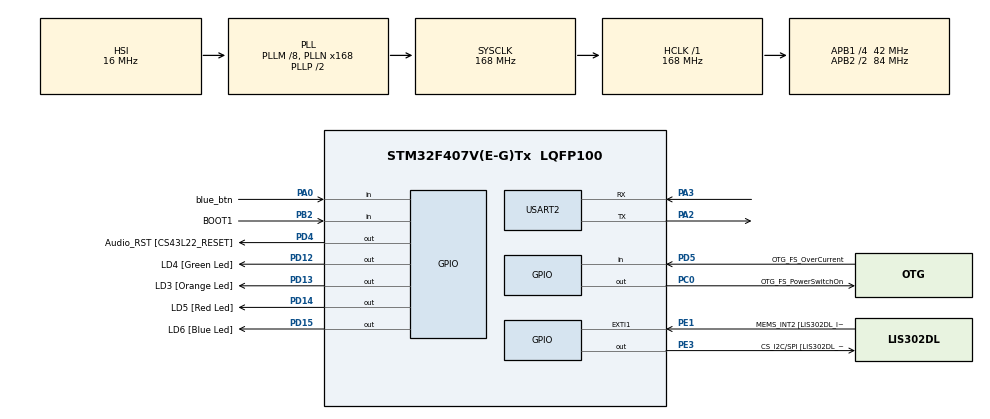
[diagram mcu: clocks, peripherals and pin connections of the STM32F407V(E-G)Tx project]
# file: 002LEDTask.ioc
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Mcu.Family=STM32F4
Mcu.Name=STM32F407V(E-G)Tx
Mcu.Package=LQFP100
NVIC.PriorityGroup=NVIC_PRIORITYGROUP_4
NVIC.TIM6_DAC_IRQn=true\:15\:0\:false\:false\:true\:false\:true
NVIC.TimeBase=TIM6_DAC_IRQn
NVIC.TimeBaseIP=TIM6
NVIC.USART2_IRQn=true\:0\:0\:false\:false\:true\:true\:true
PA0-WKUP.GPIO_Label=blue_btn
PA0-WKUP.Signal=GPIO_Input
PA10.GPIO_Label=OTG_FS_ID
PA10.GPIO_Mode=GPIO_MODE_AF_PP
PA10.GPIO_PuPd=GPIO_NOPULL
PA10.GPIO_Speed=GPIO_SPEED_FREQ_LOW
PA10.Signal=USB_OTG_FS_ID
PA11.GPIO_Label=OTG_FS_DM
PA11.GPIO_Mode=GPIO_MODE_AF_PP
PA11.GPIO_PuPd=GPIO_NOPULL
PA11.GPIO_Speed=GPIO_SPEED_FREQ_LOW
PA11.Signal=USB_OTG_FS_DM
PA12.GPIO_Label=OTG_FS_DP
PA12.GPIO_Mode=GPIO_MODE_AF_PP
PA12.GPIO_PuPd=GPIO_NOPULL
PA12.GPIO_Speed=GPIO_SPEED_FREQ_LOW
PA12.Signal=USB_OTG_FS_DP
PA13.GPIO_Label=SWDIO
PA13.Mode=Trace_Asynchronous_SW
PA13.Signal=SYS_JTMS-SWDIO
PA14.GPIO_Label=SWCLK
PA14.Mode=Trace_Asynchronous_SW
PA14.Signal=SYS_JTCK-SWCLK
PA2.Mode=Asynchronous
PA2.Signal=USART2_TX
PA3.Mode=Asynchronous
PA3.Signal=USART2_RX
PA4.GPIO_Label=I2S3_WS [CS43L22_LRCK]
PA4.GPIO_Mode=GPIO_MODE_AF_PP
PA4.GPIO_PuPd=GPIO_NOPULL
PA4.GPIO_Speed=GPIO_SPEED_FREQ_LOW
PA4.Signal=I2S3_WS
PA5.GPIO_Label=SPI1_SCK [LIS302DL_SCL/SPC]
PA5.GPIO_Mode=GPIO_MODE_AF_PP
PA5.GPIO_PuPd=GPIO_NOPULL
PA5.GPIO_Speed=GPIO_SPEED_FREQ_LOW
PA5.Signal=SPI1_SCK
PA6.GPIO_Label=SPI1_MISO [LIS302DL_SDO]
PA6.GPIO_Mode=GPIO_MODE_AF_PP
PA6.GPIO_PuPd=GPIO_NOPULL
PA6.GPIO_Speed=GPIO_SPEED_FREQ_LOW
PA6.Signal=SPI1_MISO
PA7.GPIO_Label=SPI1_MOSI [LIS302DL_SDA/SDI/SDO]
PA7.GPIO_Mode=GPIO_MODE_AF_PP
PA7.GPIO_PuPd=GPIO_NOPULL
PA7.GPIO_Speed=GPIO_SPEED_FREQ_LOW
PA7.Signal=SPI1_MOSI
PA9.GPIO_Label=VBUS_FS
PA9.GPIO_Mode=GPIO_MODE_INPUT
PA9.GPIO_PuPd=GPIO_NOPULL
PA9.Signal=USB_OTG_FS_VBUS
PB10.GPIO_Label=CLK_IN [MP45DT02_CLK]
PB10.GPIO_Mode=GPIO_MODE_AF_PP
PB10.GPIO_PuPd=GPIO_NOPULL
PB10.GPIO_Speed=GPIO_SPEED_FREQ_LOW
PB10.Signal=I2S2_CK
PB2.GPIO_Label=BOOT1
PB2.GPIO_Mode=GPIO_MODE_INPUT
PB2.GPIO_PuPd=GPIO_NOPULL
PB2.Signal=GPIO_Input
PB3.GPIO_Label=SWO
PB3.Mode=Trace_Asynchronous_SW
PB3.Signal=SYS_JTDO-SWO
PB6.GPIO_Label=Audio_SCL [CS43L22_SCL]
PB6.GPIO_Mode=GPIO_MODE_AF_OD
PB6.GPIO_PuPd=GPIO_NOPULL
PB6.GPIO_Speed=GPIO_SPEED_FREQ_LOW
PB6.Signal=I2C1_SCL
PB9.GPIO_Label=Audio_SDA [CS43L22_SDA]
PB9.GPIO_Mode=GPIO_MODE_AF_OD
PB9.GPIO_PuPd=GPIO_NOPULL
PB9.GPIO_Speed=GPIO_SPEED_FREQ_LOW
PB9.Signal=I2C1_SDA
PC0.GPIO_Label=OTG_FS_PowerSwitchOn
PC0.GPIO_PuPd=GPIO_NOPULL
PC0.GPIO_Speed=GPIO_SPEED_FREQ_LOW
PC0.PinState=GPIO_PIN_SET
PC0.Signal=GPIO_Output
PC10.GPIO_Label=I2S3_SCK [CS43L22_SCLK]
PC10.GPIO_Mode=GPIO_MODE_AF_PP
PC10.GPIO_PuPd=GPIO_NOPULL
PC10.GPIO_Speed=GPIO_SPEED_FREQ_LOW
PC10.Signal=I2S3_CK
PC12.GPIO_Label=I2S3_SD [CS43L22_SDIN]
PC12.GPIO_Mode=GPIO_MODE_AF_PP
PC12.GPIO_PuPd=GPIO_NOPULL
PC12.GPIO_Speed=GPIO_SPEED_FREQ_LOW
PC12.Signal=I2S3_SD
PC14-OSC32_IN.GPIO_Label=PC14-OSC32_IN
PC14-OSC32_IN.Signal=RCC_OSC32_IN
PC15-OSC32_OUT.GPIO_Label=PC15-OSC32_OUT
PC15-OSC32_OUT.Signal=RCC_OSC32_OUT
PC3.GPIO_Label=PDM_OUT [MP45DT02_DOUT]
PC3.GPIO_Mode=GPIO_MODE_AF_PP
PC3.GPIO_PuPd=GPIO_NOPULL
PC3.GPIO_Speed=GPIO_SPEED_FREQ_LOW
PC3.Signal=I2S2_SD
PC7.GPIO_Label=I2S3_MCK [CS43L22_MCLK]
PC7.GPIO_Mode=GPIO_MODE_AF_PP
PC7.GPIO_PuPd=GPIO_NOPULL
PC7.GPIO_Speed=GPIO_SPEED_FREQ_LOW
PC7.Signal=I2S3_MCK
PD12.GPIO_Label=LD4 [Green Led]
PD12.GPIO_PuPd=GPIO_NOPULL
PD12.GPIO_Speed=GPIO_SPEED_FREQ_LOW
PD12.Signal=GPIO_Output
PD13.GPIO_Label=LD3 [Orange Led]
PD13.GPIO_PuPd=GPIO_NOPULL
PD13.GPIO_Speed=GPIO_SPEED_FREQ_LOW
PD13.Signal=GPIO_Output
PD14.GPIO_Label=LD5 [Red Led]
PD14.GPIO_PuPd=GPIO_NOPULL
PD14.GPIO_Speed=GPIO_SPEED_FREQ_LOW
PD14.Signal=GPIO_Output
PD15.GPIO_Label=LD6 [Blue Led]
PD15.GPIO_PuPd=GPIO_NOPULL
PD15.GPIO_Speed=GPIO_SPEED_FREQ_LOW
PD15.Signal=GPIO_Output
PD4.GPIO_Label=Audio_RST [CS43L22_RESET]
PD4.GPIO_PuPd=GPIO_NOPULL
PD4.GPIO_Speed=GPIO_SPEED_FREQ_LOW
PD4.Signal=GPIO_Output
PD5.GPIO_Label=OTG_FS_OverCurrent
PD5.GPIO_Mode=GPIO_MODE_INPUT
PD5.GPIO_PuPd=GPIO_NOPULL
PD5.Signal=GPIO_Input
PE1.GPIO_Label=MEMS_INT2 [LIS302DL_INT2]
PE1.GPIO_ModeDefaultEXTI=GPIO_MODE_EVT_RISING
PE1.GPIO_PuPd=GPIO_NOPULL
PE1.Signal=GPXTI1
PE3.GPIO_Label=CS_I2C/SPI [LIS302DL_CS_I2C/SPI]
PE3.GPIO_PuPd=GPIO_NOPULL
PE3.GPIO_Speed=GPIO_SPEED_FREQ_LOW
PE3.Signal=GPIO_Output
PH0-OSC_IN.GPIO_Label=PH0-OSC_IN
PH0-OSC_IN.Signal=RCC_OSC_IN
PH1-OSC_OUT.GPIO_Label=PH1-OSC_OUT
PH1-OSC_OUT.Signal=RCC_OSC_OUT
ProjectManager.HeapSize=0x200
ProjectManager.StackSize=0x400
ProjectManager.TargetToolchain=STM32CubeIDE
RCC.48MHZClocksFreq_Value=48000000
RCC.AHBFreq_Value=168000000
RCC.APB1CLKDivider=RCC_HCLK_DIV4
RCC.APB1Freq_Value=42000000
RCC.APB1TimFreq_Value=84000000
RCC.APB2CLKDivider=RCC_HCLK_DIV2
RCC.APB2Freq_Value=84000000
RCC.APB2TimFreq_Value=168000000
RCC.CortexFreq_Value=168000000
RCC.HCLKFreq_Value=168000000
RCC.HSE_VALUE=8000000
RCC.HSI_VALUE=16000000
RCC.LSE_VALUE=32768
RCC.PLLM=8
RCC.PLLN=168
RCC.PLLQ=7
RCC.SYSCLKFreq_VALUE=168000000
RCC.SYSCLKSource=RCC_SYSCLKSOURCE_PLLCLK
RCC.VCOOutputFreq_Value=336000000
USART2.VirtualMode=VM_ASYNC
VP_SYS_VS_tim6.Mode=TIM6
board=STM32F407G-DISC1

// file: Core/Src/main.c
/* USER CODE BEGIN Header */
/**
  ******************************************************************************
  * @file           : main.c
  * @brief          : Main program body
  ******************************************************************************
  * @attention
  *
  * Copyright (c) 2022 STMicroelectronics.
  * All rights reserved.
  *
  * This software is licensed under terms that can be found in the LICENSE file
  * in the root directory of this software component.
  * If no LICENSE file comes with this software, it is provided AS-IS.
  *
  ******************************************************************************
  */
/* USER CODE END Header */
#include "main.h"

/* USER CODE BEGIN Includes */
#include <stdio.h>
#include "FreeRTOS.h"
#include "task.h"
#include "queue.h"
/* USER CODE END Includes */

UART_HandleTypeDef huart2;

/* USER CODE BEGIN PV */
#define DWT_CTRL 	(*(volatile uint32_t*)0xE0001000)

/* USER CODE END PV */

void SystemClock_Config(void);
static void MX_GPIO_Init(void);
static void MX_USART2_UART_Init(void);
/* USER CODE BEGIN PFP */
static void led_handler(void *parameter);
static void button_handler(void *parameter);

TickType_t tStart;
TickType_t tEnd;
QueueHandle_t xQueue;

volatile int state = 1; // control state switch between 1 and 2
/* USER CODE END PFP */

/* USER CODE BEGIN 0 */
//int _write(int file, char *ptr, int len)
// {
//	 int DataIdx;
//	 for (DataIdx = 0; DataIdx < len; DataIdx++)
//	 {
//		 ITM_SendChar(*ptr++);
//	 }
//	 return len;
// }
/* USER CODE END 0 */

int main(void)
{
  /* USER CODE BEGIN 1 */
	TaskHandle_t task1_handle;
	TaskHandle_t task2_handle;

	BaseType_t status;
  /* USER CODE END 1 */

  /* MCU Configuration--------------------------------------------------------*/

  /* Reset of all peripherals, Initializes the Flash interface and the Systick. */
  HAL_Init();

  /* Configure the system clock */
  SystemClock_Config();

  /* Initialize all configured peripherals */
  MX_GPIO_Init();
  MX_USART2_UART_Init();
  /* USER CODE BEGIN 2 */

  xQueue = xQueueCreate(1, sizeof(int));

  DWT_CTRL |= (1<<0);

  status = xTaskCreate(button_handler, "Task-button", 200, NULL, 2, &task1_handle);
  configASSERT(status == pdPASS);
  status = xTaskCreate(led_handler, "Task-LED", 200, NULL, 2, &task2_handle);
  configASSERT(status == pdPASS);

  vTaskStartScheduler();

  /* USER CODE END 2 */

  /* Infinite loop */
  while (1)
  {

  }
}

void SystemClock_Config(void)
{
  RCC_OscInitTypeDef RCC_OscInitStruct = {0};
  RCC_ClkInitTypeDef RCC_ClkInitStruct = {0};

  /** Configure the main internal regulator output voltage
  */
  __HAL_RCC_PWR_CLK_ENABLE();
  __HAL_PWR_VOLTAGESCALING_CONFIG(PWR_REGULATOR_VOLTAGE_SCALE1);
  /** Initializes the RCC Oscillators according to the specified parameters
  * in the RCC_OscInitTypeDef structure.
  */
  RCC_OscInitStruct.OscillatorType = RCC_OSCILLATORTYPE_HSI;
  RCC_OscInitStruct.HSIState = RCC_HSI_ON;
  RCC_OscInitStruct.HSICalibrationValue = RCC_HSICALIBRATION_DEFAULT;
  RCC_OscInitStruct.PLL.PLLState = RCC_PLL_ON;
  RCC_OscInitStruct.PLL.PLLSource = RCC_PLLSOURCE_HSI;
  RCC_OscInitStruct.PLL.PLLM = 8;
  RCC_OscInitStruct.PLL.PLLN = 168;
  RCC_OscInitStruct.PLL.PLLP = RCC_PLLP_DIV2;
  RCC_OscInitStruct.PLL.PLLQ = 7;
  if (HAL_RCC_OscConfig(&RCC_OscInitStruct) != HAL_OK)
  {
    Error_Handler();
  }
  /** Initializes the CPU, AHB and APB buses clocks
  */
  RCC_ClkInitStruct.ClockType = RCC_CLOCKTYPE_HCLK|RCC_CLOCKTYPE_SYSCLK
                              |RCC_CLOCKTYPE_PCLK1|RCC_CLOCKTYPE_PCLK2;
  RCC_ClkInitStruct.SYSCLKSource = RCC_SYSCLKSOURCE_PLLCLK;
  RCC_ClkInitStruct.AHBCLKDivider = RCC_SYSCLK_DIV1;
  RCC_ClkInitStruct.APB1CLKDivider = RCC_HCLK_DIV4;
  RCC_ClkInitStruct.APB2CLKDivider = RCC_HCLK_DIV2;

  if (HAL_RCC_ClockConfig(&RCC_ClkInitStruct, FLASH_LATENCY_5) != HAL_OK)
  {
    Error_Handler();
  }
}

static void MX_USART2_UART_Init(void)
{

  huart2.Instance = USART2;
  huart2.Init.BaudRate = 115200;
  huart2.Init.WordLength = UART_WORDLENGTH_8B;
  huart2.Init.StopBits = UART_STOPBITS_1;
  huart2.Init.Parity = UART_PARITY_NONE;
  huart2.Init.Mode = UART_MODE_TX_RX;
  huart2.Init.HwFlowCtl = UART_HWCONTROL_NONE;
  huart2.Init.OverSampling = UART_OVERSAMPLING_16;
  if (HAL_UART_Init(&huart2) != HAL_OK)
  {
    Error_Handler();
  }

}

static void MX_GPIO_Init(void)
{
  GPIO_InitTypeDef GPIO_InitStruct = {0};

  /* GPIO Ports Clock Enable */
  __HAL_RCC_GPIOE_CLK_ENABLE();
  __HAL_RCC_GPIOC_CLK_ENABLE();
  __HAL_RCC_GPIOH_CLK_ENABLE();
  __HAL_RCC_GPIOA_CLK_ENABLE();
  __HAL_RCC_GPIOB_CLK_ENABLE();
  __HAL_RCC_GPIOD_CLK_ENABLE();

  /*Configure GPIO pin Output Level */
  HAL_GPIO_WritePin(CS_I2C_SPI_GPIO_Port, CS_I2C_SPI_Pin, GPIO_PIN_RESET);

  /*Configure GPIO pin Output Level */
  HAL_GPIO_WritePin(OTG_FS_PowerSwitchOn_GPIO_Port, OTG_FS_PowerSwitchOn_Pin, GPIO_PIN_SET);

  /*Configure GPIO pin Output Level */
  HAL_GPIO_WritePin(GPIOD, LD4_Pin|LD3_Pin|LD5_Pin|LD6_Pin
                          |Audio_RST_Pin, GPIO_PIN_RESET);

  /*Configure GPIO pin : CS_I2C_SPI_Pin */
  GPIO_InitStruct.Pin = CS_I2C_SPI_Pin;
  GPIO_InitStruct.Mode = GPIO_MODE_OUTPUT_PP;
  GPIO_InitStruct.Pull = GPIO_NOPULL;
  GPIO_InitStruct.Speed = GPIO_SPEED_FREQ_LOW;
  HAL_GPIO_Init(CS_I2C_SPI_GPIO_Port, &GPIO_InitStruct);

  /*Configure GPIO pin : OTG_FS_PowerSwitchOn_Pin */
  GPIO_InitStruct.Pin = OTG_FS_PowerSwitchOn_Pin;
  GPIO_InitStruct.Mode = GPIO_MODE_OUTPUT_PP;
  GPIO_InitStruct.Pull = GPIO_NOPULL;
  GPIO_InitStruct.Speed = GPIO_SPEED_FREQ_LOW;
  HAL_GPIO_Init(OTG_FS_PowerSwitchOn_GPIO_Port, &GPIO_InitStruct);

  /*Configure GPIO pin : PDM_OUT_Pin */
  GPIO_InitStruct.Pin = PDM_OUT_Pin;
  GPIO_InitStruct.Mode = GPIO_MODE_AF_PP;
  GPIO_InitStruct.Pull = GPIO_NOPULL;
  GPIO_InitStruct.Speed = GPIO_SPEED_FREQ_LOW;
  GPIO_InitStruct.Alternate = GPIO_AF5_SPI2;
  HAL_GPIO_Init(PDM_OUT_GPIO_Port, &GPIO_InitStruct);

  /*Configure GPIO pin : blue_btn_Pin */
  GPIO_InitStruct.Pin = blue_btn_Pin;
  GPIO_InitStruct.Mode = GPIO_MODE_INPUT;
  GPIO_InitStruct.Pull = GPIO_NOPULL;
  HAL_GPIO_Init(blue_btn_GPIO_Port, &GPIO_InitStruct);

  /*Configure GPIO pin : I2S3_WS_Pin */
  GPIO_InitStruct.Pin = I2S3_WS_Pin;
  GPIO_InitStruct.Mode = GPIO_MODE_AF_PP;
  GPIO_InitStruct.Pull = GPIO_NOPULL;
  GPIO_InitStruct.Speed = GPIO_SPEED_FREQ_LOW;
  GPIO_InitStruct.Alternate = GPIO_AF6_SPI3;
  HAL_GPIO_Init(I2S3_WS_GPIO_Port, &GPIO_InitStruct);

  /*Configure GPIO pins : SPI1_SCK_Pin SPI1_MISO_Pin SPI1_MOSI_Pin */
  GPIO_InitStruct.Pin = SPI1_SCK_Pin|SPI1_MISO_Pin|SPI1_MOSI_Pin;
  GPIO_InitStruct.Mode = GPIO_MODE_AF_PP;
  GPIO_InitStruct.Pull = GPIO_NOPULL;
  GPIO_InitStruct.Speed = GPIO_SPEED_FREQ_LOW;
  GPIO_InitStruct.Alternate = GPIO_AF5_SPI1;
  HAL_GPIO_Init(GPIOA, &GPIO_InitStruct);

  /*Configure GPIO pin : BOOT1_Pin */
  GPIO_InitStruct.Pin = BOOT1_Pin;
  GPIO_InitStruct.Mode = GPIO_MODE_INPUT;
  GPIO_InitStruct.Pull = GPIO_NOPULL;
  HAL_GPIO_Init(BOOT1_GPIO_Port, &GPIO_InitStruct);

  /*Configure GPIO pin : CLK_IN_Pin */
  GPIO_InitStruct.Pin = CLK_IN_Pin;
  GPIO_InitStruct.Mode = GPIO_MODE_AF_PP;
  GPIO_InitStruct.Pull = GPIO_NOPULL;
  GPIO_InitStruct.Speed = GPIO_SPEED_FREQ_LOW;
  GPIO_InitStruct.Alternate = GPIO_AF5_SPI2;
  HAL_GPIO_Init(CLK_IN_GPIO_Port, &GPIO_InitStruct);

  /*Configure GPIO pins : LD4_Pin LD3_Pin LD5_Pin LD6_Pin
                           Audio_RST_Pin */
  GPIO_InitStruct.Pin = LD4_Pin|LD3_Pin|LD5_Pin|LD6_Pin
                          |Audio_RST_Pin;
  GPIO_InitStruct.Mode = GPIO_MODE_OUTPUT_PP;
  GPIO_InitStruct.Pull = GPIO_NOPULL;
  GPIO_InitStruct.Speed = GPIO_SPEED_FREQ_LOW;
  HAL_GPIO_Init(GPIOD, &GPIO_InitStruct);

  /*Configure GPIO pins : I2S3_MCK_Pin I2S3_SCK_Pin I2S3_SD_Pin */
  GPIO_InitStruct.Pin = I2S3_MCK_Pin|I2S3_SCK_Pin|I2S3_SD_Pin;
  GPIO_InitStruct.Mode = GPIO_MODE_AF_PP;
  GPIO_InitStruct.Pull = GPIO_NOPULL;
  GPIO_InitStruct.Speed = GPIO_SPEED_FREQ_LOW;
  GPIO_InitStruct.Alternate = GPIO_AF6_SPI3;
  HAL_GPIO_Init(GPIOC, &GPIO_InitStruct);

  /*Configure GPIO pin : VBUS_FS_Pin */
  GPIO_InitStruct.Pin = VBUS_FS_Pin;
  GPIO_InitStruct.Mode = GPIO_MODE_INPUT;
  GPIO_InitStruct.Pull = GPIO_NOPULL;
  HAL_GPIO_Init(VBUS_FS_GPIO_Port, &GPIO_InitStruct);

  /*Configure GPIO pins : OTG_FS_ID_Pin OTG_FS_DM_Pin OTG_FS_DP_Pin */
  GPIO_InitStruct.Pin = OTG_FS_ID_Pin|OTG_FS_DM_Pin|OTG_FS_DP_Pin;
  GPIO_InitStruct.Mode = GPIO_MODE_AF_PP;
  GPIO_InitStruct.Pull = GPIO_NOPULL;
  GPIO_InitStruct.Speed = GPIO_SPEED_FREQ_LOW;
  GPIO_InitStruct.Alternate = GPIO_AF10_OTG_FS;
  HAL_GPIO_Init(GPIOA, &GPIO_InitStruct);

  /*Configure GPIO pin : OTG_FS_OverCurrent_Pin */
  GPIO_InitStruct.Pin = OTG_FS_OverCurrent_Pin;
  GPIO_InitStruct.Mode = GPIO_MODE_INPUT;
  GPIO_InitStruct.Pull = GPIO_NOPULL;
  HAL_GPIO_Init(OTG_FS_OverCurrent_GPIO_Port, &GPIO_InitStruct);

  /*Configure GPIO pins : Audio_SCL_Pin Audio_SDA_Pin */
  GPIO_InitStruct.Pin = Audio_SCL_Pin|Audio_SDA_Pin;
  GPIO_InitStruct.Mode = GPIO_MODE_AF_OD;
  GPIO_InitStruct.Pull = GPIO_NOPULL;
  GPIO_InitStruct.Speed = GPIO_SPEED_FREQ_LOW;
  GPIO_InitStruct.Alternate = GPIO_AF4_I2C1;
  HAL_GPIO_Init(GPIOB, &GPIO_InitStruct);

  /*Configure GPIO pin : MEMS_INT2_Pin */
  GPIO_InitStruct.Pin = MEMS_INT2_Pin;
  GPIO_InitStruct.Mode = GPIO_MODE_EVT_RISING;
  GPIO_InitStruct.Pull = GPIO_NOPULL;
  HAL_GPIO_Init(MEMS_INT2_GPIO_Port, &GPIO_InitStruct);

}

/* USER CODE BEGIN 4 */

void led_handler(void *parameters) {

	//char msg[100];
	HAL_GPIO_WritePin(GPIOD, LED_RED_Pin, GPIO_PIN_RESET);
	HAL_GPIO_WritePin(GPIOD, LED_ORANGE_Pin, GPIO_PIN_RESET);
	HAL_GPIO_WritePin(GPIOD, LED_GREEN_Pin, GPIO_PIN_SET);

	tStart = xTaskGetTickCount();
	TickType_t wait_time = 2000;

	while(1) {
		tEnd = xTaskGetTickCount();
		xQueueSend(xQueue, (void *)1, wait_time);

		if (state == 1){
			wait_time = 2000;

			HAL_GPIO_TogglePin(GPIOD, LED_RED_Pin);
			HAL_GPIO_TogglePin(GPIOD, LED_GREEN_Pin);
			/*
			 * counter version
			if ((tEnd - tStart) > (2000 / portTICK_PERIOD_MS)){
				//SEGGER_SYSVIEW_PrintfTarget("Toggle red LED");
				printf("[LED] : toggle state 1\n");
				HAL_GPIO_TogglePin(GPIOD, LED_RED_Pin);
				HAL_GPIO_TogglePin(GPIOD, LED_GREEN_Pin);
				//vTaskDelay(pdMS_TO_TICKS(2000 / portTICK_PERIOD_MS));

				tStart = tEnd;
			}
			*/
		}
		else {

			wait_time = 1000;

			HAL_GPIO_TogglePin(GPIOD, LED_ORANGE_Pin);
			/*
			if ((tEnd - tStart) > (1000 / portTICK_PERIOD_MS)) {
				//SEGGER_SYSVIEW_PrintfTarget("Toggle red LED");
				printf("[LED] : toggle state 2\n");
				HAL_GPIO_TogglePin(GPIOD, LED_ORANGE_Pin);
				//vTaskDelay(pdMS_TO_TICKS(1000 / portTICK_PERIOD_MS));
				tStart = tEnd;
			}
			*/
		}
	}
}

void button_handler(void *parameters) {

	//char msg[100];
	volatile int btn_state = 0;

	while(1)
	{
		if (HAL_GPIO_ReadPin(blue_btn_GPIO_Port, blue_btn_Pin) == GPIO_PIN_SET && btn_state == 0){
			vTaskDelay(20 / portTICK_PERIOD_MS);
			if (HAL_GPIO_ReadPin(blue_btn_GPIO_Port, blue_btn_Pin) == GPIO_PIN_SET){
				state = !state;
				btn_state = 1;
				tStart = tEnd;
				int *pvBuffer = NULL;
				printf("[Button] : button pressed\n");
				if (state) {
					HAL_GPIO_WritePin(GPIOD, LED_RED_Pin, GPIO_PIN_RESET);
					HAL_GPIO_WritePin(GPIOD, LED_ORANGE_Pin, GPIO_PIN_RESET);
					HAL_GPIO_WritePin(GPIOD, LED_GREEN_Pin, GPIO_PIN_SET);
				}
				else {
					HAL_GPIO_WritePin(GPIOD, LED_RED_Pin, GPIO_PIN_RESET);
					HAL_GPIO_WritePin(GPIOD, LED_ORANGE_Pin, GPIO_PIN_SET);
					HAL_GPIO_WritePin(GPIOD, LED_GREEN_Pin, GPIO_PIN_RESET);
				}
				xQueueReceive(xQueue, &pvBuffer, 0);
			}

		}
		else if (HAL_GPIO_ReadPin(blue_btn_GPIO_Port, blue_btn_Pin) == GPIO_PIN_RESET && btn_state == 1) {
			vTaskDelay(20 / portTICK_PERIOD_MS);
			if (HAL_GPIO_ReadPin(blue_btn_GPIO_Port, blue_btn_Pin) == GPIO_PIN_SET){
				btn_state = 0;
			}
		}
		//snprintf(msg, 100, (char *)parameters);
		//SEGGER_SYSVIEW_PrintfTarget("Toggle orange LED");
		//HAL_GPIO_TogglePin(GPIOD, LED_ORANGE_Pin);
		//vTaskDelay(pdMS_TO_TICKS(400));
	}
}

/* USER CODE END 4 */

void HAL_TIM_PeriodElapsedCallback(TIM_HandleTypeDef *htim)
{
  if (htim->Instance == TIM6) {
    HAL_IncTick();
  }
}

void Error_Handler(void)
{
  __disable_irq();
  while (1)
  {
  }
}
